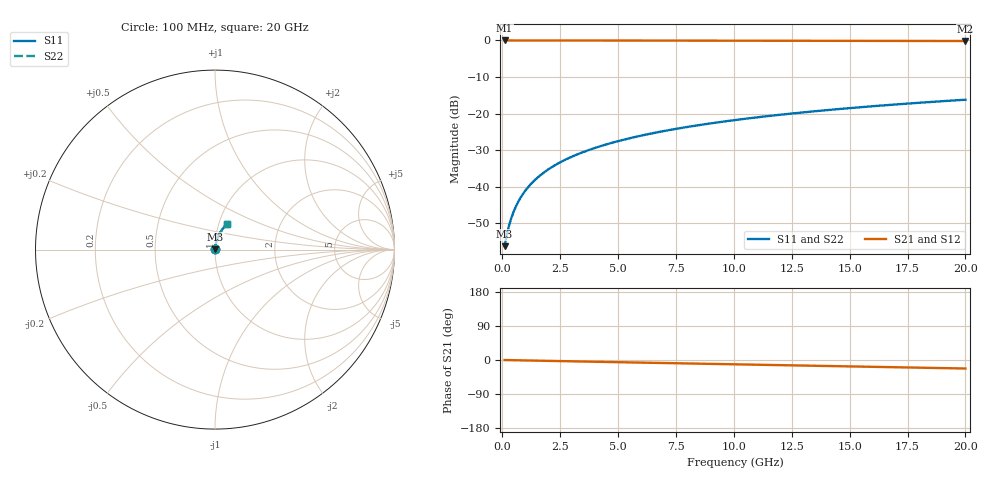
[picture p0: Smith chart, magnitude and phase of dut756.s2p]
! Touchstone file exported from HFSS 2026.1.0
!  File:  C:/ffzhzh/LocalFiles/Ansys_Project_Files/temp_train_TMRDL_756_1783155365_18472.aedt
!  Generated:  04:57:18 PM Jul  4, 2026
!  Design:  TMRDL
!  Project:  temp_train_TMRDL_756_1783155365_18472
! Variables:
!  h_bsmrdl = 2um
!  h_ox = 20um
!  h_rdl = 5um
!  h_sub = 80um
!  h_tmrdl = 4.45um
!  h_tsv = 80um
!  h_via = 3um
!  l_bsmrdl = 300um
!  l_sub = 737.7um
!  l_tmrdl = 337.7um
!  m_sub = 200um
!  pitch = 46.12um
!  r_tsv = 6um
!  s_tmrdl = 10um
!  w_bsmrdl = 18um
!  w_sub = 500um
!  w_tmrdl = 29.04um
!  x_tsv_center1 = 352.22um
!  x_tsv_center2 = 670.22um
!  x_tsv_center3 = 1036.96um
!  x_tsv_center4 = 1354.96um
!  x_tsv_center5 = 1721.7um
!  x_tsv_center6 = 2039.7um
# GHz S MA R 50.000000
! Terminal data exported
! Port[1] = TM_RDL1_1_T1
! Port[2] = TM_RDL1_1_T2
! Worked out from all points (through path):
!   200 points, 100 MHz to 20 GHz, reference 50 ohm
!   highest |S21| = -0.01 dB at 100 MHz (marker M1); lowest = -0.2 dB at 20 GHz (marker M2)
!   group delay of S21, straight-line fit = 3.11 ps
!   lowest |S11| = -56.3 dB at 100 MHz (marker M3), VSWR 1.00, Z = 50.1 + j0.102 ohm
!   |S11| at or under -10 dB: start of sweep to end of sweep
!   |S22| runs from -56.3 to -16.2 dB; largest |S21 - S12| = 3.5e-15
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0.1  0.001538 41.2  0.9988 -0.1  0.9988 -0.1  0.001538 41.2
! Gamma 0 0 0 0
! Port Impedance 50 0 50 0
0.2  0.002252 56.1  0.9987 -0.2  0.9987 -0.2  0.002246 56.1
0.3  0.003012 64.3  0.9986 -0.4  0.9986 -0.4  0.003007 64.4
0.4  0.003812 69.3  0.9986 -0.5  0.9986 -0.5  0.003808 69.4
0.5  0.004635 72.6  0.9985 -0.6  0.9985 -0.6  0.004634 72.7
0.6  0.005472 74.9  0.9985 -0.7  0.9985 -0.7  0.005473 75.0
0.8  0.007167 77.7  0.9984 -0.9  0.9984 -0.9  0.00717 77.8
1.1  0.009726 79.9  0.9983 -1.3  0.9983 -1.3  0.009731 79.9
1.3  0.01143 80.6  0.9983 -1.5  0.9983 -1.5  0.01144 80.6
1.5  0.01313 81.1  0.9982 -1.8  0.9982 -1.8  0.01314 81.1
1.8  0.01567 81.5  0.9981 -2.1  0.9981 -2.1  0.01568 81.5
2.1  0.01819 81.7  0.9979 -2.4  0.9979 -2.4  0.0182 81.7
2.7  0.0232 81.6  0.9976 -3.1  0.9976 -3.1  0.0232 81.6
3.5  0.02979 81.2  0.9971 -4.1  0.9971 -4.1  0.02979 81.2
4.2  0.0355 80.7  0.9967 -4.9  0.9967 -4.9  0.0355 80.7
5  0.04196 80.1  0.9961 -5.8  0.9961 -5.8  0.04196 80.1
6.8  0.05627 78.4  0.9947 -7.8  0.9947 -7.8  0.05627 78.4
8.3  0.068 77.0  0.9935 -9.5  0.9935 -9.5  0.068 77.0
10.1  0.08189 75.2  0.992 -11.5  0.992 -11.5  0.08189 75.3
13.4  0.1069 71.9  0.9889 -15.2  0.9889 -15.2  0.1069 71.9
16.7  0.1311 68.6  0.9854 -18.8  0.9854 -18.8  0.1311 68.6
20  0.1546 65.1  0.9815 -22.5  0.9815 -22.5  0.1546 65.2
